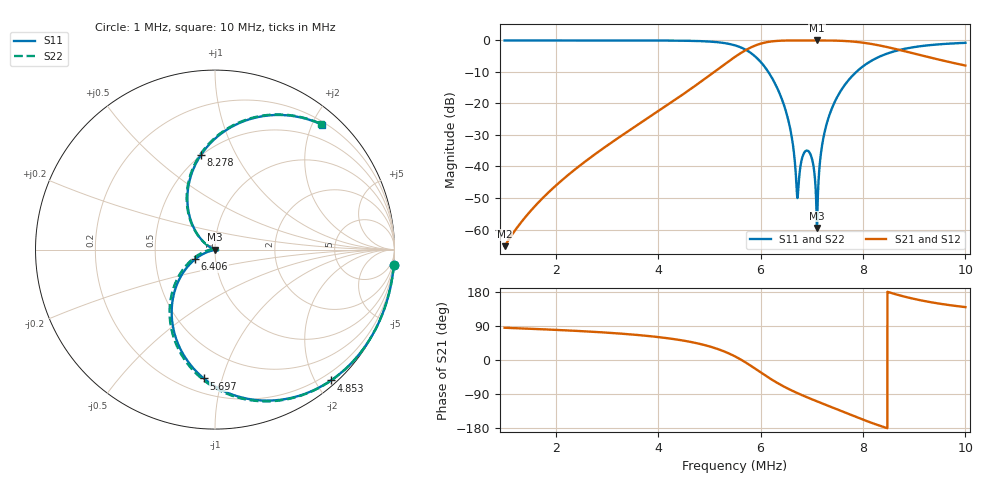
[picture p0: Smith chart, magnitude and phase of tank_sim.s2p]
! AWR Design Environment (19348) Wed Jan 14 17:03:38 2026
! Document = 'Resonant Tank Simulation'
! nPorts: 2, nXvals: 10001
# MHz S DB R 50
!Freq DBS11 AngS11 DBS21 AngS21 DBS12 AngS12 DBS22 AngS22
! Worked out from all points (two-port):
!   10001 points, 1 MHz to 10 MHz, reference 50 ohm
!   highest |S21| = 0.00 dB at 7.101 MHz (marker M1); lowest = -65.3 dB at 1 MHz (marker M2)
!   |S21| within 3 dB of the highest: 5.717 MHz to 8.711 MHz (2.994 MHz wide, 41.5 % of centre)
!   lowest |S11| = -59.5 dB at 7.101 MHz (marker M3), VSWR 1.00, Z = 50 - j0.0979 ohm
!   |S11| at or under -10 dB: 6.151 MHz to 7.869 MHz (1.718 MHz wide, 24.5 % of centre)
!   |S22| runs from -59.5 to 0.0 dB; largest |S21 - S12| = 1.6e-11
!   S11 on the Smith chart (normalised r, x): 1 MHz: 0, -24; 4.853 MHz: 0.08, -2.22; 5.697 MHz: 0.29, -0.87; 6.406 MHz: 0.80, -0.09; 8.278 MHz: 0.50, +0.73; 10 MHz: 0.25, +2.15
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1  -0.00 -4.9  -65.29 85.1  -65.29 85.1  -0.00 -4.9
1.6471  -0.00 -8.3  -51.64 81.6  -51.64 81.6  -0.00 -8.4
2.5003  -0.00 -13.8  -39.33 76.2  -39.33 76.2  -0.00 -13.9
4.0006  -0.02 -29.3  -22.44 60.5  -22.44 60.5  -0.02 -29.7
4.8529  -0.23 -48.5  -12.86 41.2  -12.86 41.2  -0.23 -49.1
5.5  -1.56 -80.0  -5.21 9.5  -5.21 9.5  -1.56 -81.0
5.6971  -2.85 -94.9  -3.18 -5.6  -3.18 -5.6  -2.85 -96.2
6.0202  -7.17 -123.4  -0.93 -34.3  -0.93 -34.3  -7.17 -125.3
6.4063  -18.23 -154.2  -0.07 -66.5  -0.07 -66.5  -18.23 -158.9
6.5872  -28.74 -162.9  -0.01 -79.1  -0.01 -79.1  -28.74 -175.3
6.7168  -49.91 -95.2  -0.00 -87.3  -0.00 -87.3  -49.91 100.7
6.8554  -35.52 -13.5  -0.00 -95.4  -0.00 -95.4  -35.52 2.7
7.0003  -37.38 -20.2  -0.00 -103.5  -0.00 -103.5  -37.38 -6.9
7.0732  -46.55 -32.3  -0.00 -107.5  -0.00 -107.5  -46.55 -2.8
7.1011  -59.52 -112.1  -0.00 -109.1  -0.00 -109.1  -59.52 73.9
7.2244  -31.09 155.2  -0.00 -115.7  -0.00 -115.7  -31.09 153.3
7.4224  -20.42 143.3  -0.04 -126.4  -0.04 -126.4  -20.42 143.9
7.7797  -11.44 123.9  -0.32 -145.7  -0.32 -145.7  -11.44 124.7
8.2783  -5.47 98.5  -1.45 -171.1  -1.45 -171.1  -5.47 99.2
8.5006  -4.01 88.7  -2.20 179.0  -2.20 179.0  -4.01 89.3
9.1045  -1.86 67.9  -4.58 158.1  -4.58 158.1  -1.86 68.4
10  -0.76 49.4  -7.96 139.6  -7.96 139.6  -0.76 49.8
